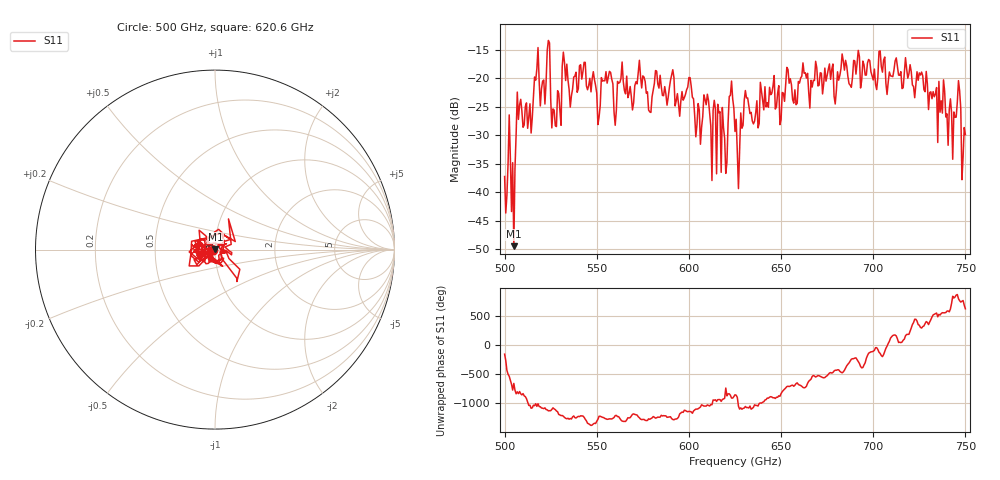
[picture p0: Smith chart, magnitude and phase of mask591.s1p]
!Created with skrf (http://scikit-rf.org).
# GHz S MA R 50.0
!freq magS11 angS11
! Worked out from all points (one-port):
!   401 points, 500 GHz to 750 GHz, reference 50 ohm
!   lowest |S11| = -49.5 dB at 505 GHz (marker M1), VSWR 1.01, Z = 50.2 + j0.277 ohm
!   |S11| at or under -10 dB: start of sweep to end of sweep
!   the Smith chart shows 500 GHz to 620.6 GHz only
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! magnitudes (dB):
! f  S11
! 500 GHz  -37.3
! 503.1 GHz  -34.1
! 505 GHz  -49.5
! 508.1 GHz  -24.7
! 513.8 GHz  -24.5
! 516.9 GHz  -20.3
! 520.6 GHz  -20.5
! 523.8 GHz  -13.3
! 526.9 GHz  -25.6
! 531.2 GHz  -17.9
! 542.5 GHz  -18.8
! 550.6 GHz  -28.1
! 562.5 GHz  -20.7
! 593.8 GHz  -22.7
! 600 GHz  -19.8
! 605 GHz  -24.4
! 609.4 GHz  -24.6
! 620 GHz  -36.7
! 623.1 GHz  -20.5
! 625 GHz  -29.3
! 626.2 GHz  -32.9
! 631.2 GHz  -23.4
! 656.2 GHz  -23.7
! 687.5 GHz  -21.2
! 718.8 GHz  -20.0
! 741.9 GHz  -23.6
! 746.2 GHz  -20.4
! 750 GHz  -29.9
